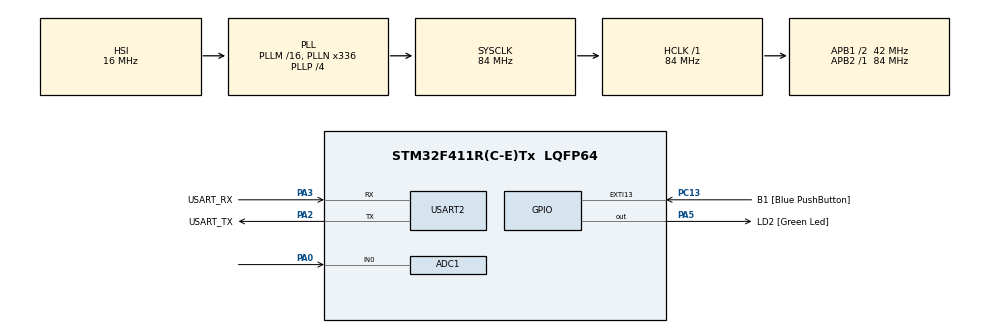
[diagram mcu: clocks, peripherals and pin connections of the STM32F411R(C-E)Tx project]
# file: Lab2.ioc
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ADC1.Channel-1\#ChannelRegularConversion=ADC_CHANNEL_0
ADC1.Channel-2\#ChannelRegularConversion=ADC_CHANNEL_TEMPSENSOR
ADC1.ContinuousConvMode=ENABLE
ADC1.DMAContinuousRequests=ENABLE
ADC1.DiscontinuousConvMode=DISABLE
ADC1.EOCSelection=ADC_EOC_SINGLE_CONV
ADC1.NbrOfConversion=2
ADC1.NbrOfConversionFlag=1
ADC1.Rank-1\#ChannelRegularConversion=1
ADC1.Rank-2\#ChannelRegularConversion=2
ADC1.SamplingTime-1\#ChannelRegularConversion=ADC_SAMPLETIME_56CYCLES
ADC1.SamplingTime-2\#ChannelRegularConversion=ADC_SAMPLETIME_56CYCLES
ADC1.master=1
Dma.ADC1.0.Direction=DMA_PERIPH_TO_MEMORY
Dma.ADC1.0.FIFOMode=DMA_FIFOMODE_DISABLE
Dma.ADC1.0.Instance=DMA2_Stream0
Dma.ADC1.0.MemDataAlignment=DMA_MDATAALIGN_HALFWORD
Dma.ADC1.0.MemInc=DMA_MINC_ENABLE
Dma.ADC1.0.Mode=DMA_CIRCULAR
Dma.ADC1.0.PeriphDataAlignment=DMA_PDATAALIGN_HALFWORD
Dma.ADC1.0.PeriphInc=DMA_PINC_DISABLE
Dma.ADC1.0.Priority=DMA_PRIORITY_LOW
Dma.Request0=ADC1
Mcu.Family=STM32F4
Mcu.Name=STM32F411R(C-E)Tx
Mcu.Package=LQFP64
NVIC.DMA2_Stream0_IRQn=true\:0\:0\:false\:false\:true\:false\:true\:true
NVIC.PriorityGroup=NVIC_PRIORITYGROUP_0
PA0-WKUP.Signal=ADCx_IN0
PA13.GPIO_Label=TMS
PA13.Mode=Serial_Wire
PA13.Signal=SYS_JTMS-SWDIO
PA14.GPIO_Label=TCK
PA14.Mode=Serial_Wire
PA14.Signal=SYS_JTCK-SWCLK
PA2.GPIO_Label=USART_TX
PA2.Mode=Asynchronous
PA2.Signal=USART2_TX
PA3.GPIO_Label=USART_RX
PA3.Mode=Asynchronous
PA3.Signal=USART2_RX
PA5.GPIO_Label=LD2 [Green Led]
PA5.Signal=GPIO_Output
PB3.GPIO_Label=SWO
PB3.Signal=SYS_JTDO-SWO
PC13-ANTI_TAMP.GPIO_Label=B1 [Blue PushButton]
PC13-ANTI_TAMP.GPIO_ModeDefaultEXTI=GPIO_MODE_IT_FALLING
PC13-ANTI_TAMP.Signal=GPXTI13
PC14-OSC32_IN.Mode=LSE-External-Oscillator
PC14-OSC32_IN.Signal=RCC_OSC32_IN
PC15-OSC32_OUT.Mode=LSE-External-Oscillator
PC15-OSC32_OUT.Signal=RCC_OSC32_OUT
PH0\ -\ OSC_IN.Mode=HSE-External-Clock-Source
PH0\ -\ OSC_IN.Signal=RCC_OSC_IN
PH1\ -\ OSC_OUT.Mode=HSE-External-Clock-Source
PH1\ -\ OSC_OUT.Signal=RCC_OSC_OUT
ProjectManager.HeapSize=0x200
ProjectManager.StackSize=0x400
ProjectManager.TargetToolchain=STM32CubeIDE
RCC.48MHZClocksFreq_Value=84000000
RCC.AHBFreq_Value=84000000
RCC.APB1CLKDivider=RCC_HCLK_DIV2
RCC.APB1Freq_Value=42000000
RCC.APB1TimFreq_Value=84000000
RCC.APB2Freq_Value=84000000
RCC.APB2TimFreq_Value=84000000
RCC.CortexFreq_Value=84000000
RCC.FLatency-AdvancedSettings=FLASH_LATENCY_2
RCC.HCLKFreq_Value=84000000
RCC.HSE_VALUE=8000000
RCC.HSI_VALUE=16000000
RCC.PLLN=336
RCC.PLLP=RCC_PLLP_DIV4
RCC.SYSCLKFreq_VALUE=84000000
RCC.SYSCLKSource=RCC_SYSCLKSOURCE_PLLCLK
RCC.VCOOutputFreq_Value=336000000
SH.ADCx_IN0.0=ADC1_IN0,IN0
USART2.VirtualMode=VM_ASYNC
VP_ADC1_TempSens_Input.Mode=IN-TempSens
board=NUCLEO-F411RE

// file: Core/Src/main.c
/* USER CODE BEGIN Header */
/**
  ******************************************************************************
  * @file           : main.c
  * @brief          : Main program body
  ******************************************************************************
  * @attention
  *
  * Copyright (c) 2023 STMicroelectronics.
  * All rights reserved.
  *
  * This software is licensed under terms that can be found in the LICENSE file
  * in the root directory of this software component./* USER CODE BEGIN Header */
/**
  ******************************************************************************
  * @file           : main.c
  * @brief          : Main program body
  ******************************************************************************
  * @attention
  *
  * Copyright (c) 2023 STMicroelectronics.
  * All rights reserved.
  *
  * This software is licensed under terms that can be found in the LICENSE file
  * in the root directory of this software component.
  * If no LICENSE file comes with this software, it is provided AS-IS.
  *
  ******************************************************************************
  */
/* USER CODE END Header */
#include "main.h"

ADC_HandleTypeDef hadc1;
DMA_HandleTypeDef hdma_adc1;

UART_HandleTypeDef huart2;

/* USER CODE BEGIN PV */
uint16_t adcRawData[20];
float Temp;
uint64_t  Voltage;
float TempRaw;
float VoltageRaw;
/* USER CODE END PV */

void SystemClock_Config(void);
static void MX_GPIO_Init(void);
static void MX_DMA_Init(void);
static void MX_USART2_UART_Init(void);
static void MX_ADC1_Init(void);

int main(void)
{

  /* MCU Configuration--------------------------------------------------------*/

  /* Reset of all peripherals, Initializes the Flash interface and the Systick. */
  HAL_Init();

  /* Configure the system clock */
  SystemClock_Config();

  /* Initialize all configured peripherals */
  MX_GPIO_Init();
  MX_DMA_Init();
  MX_USART2_UART_Init();
  MX_ADC1_Init();
  /* USER CODE BEGIN 2 */
  HAL_ADC_Start_DMA(&hadc1, adcRawData , 20);
  /* USER CODE END 2 */

  /* Infinite loop */
  /* USER CODE BEGIN WHILE */
  while (1)
  {
	  static uint32_t timestamp = 0;
	  register i;
	  	  if(HAL_GetTick() >= timestamp)
	  	  {
	  		timestamp = HAL_GetTick() + 1000;
	  		for (i=0 ; i < 20 ; i++)
	  		{
	  			if((i%2) == 0)
	  			{
	  				TempRaw += ((((adcRawData[i]/4095.000)*3.3000) - 0.7600)/0.0025) + 25.0000;
	  			}
	  			else if((i%2) == 1)
	  			{
	  				VoltageRaw += (adcRawData[i]/(2.5/3.3)*4095)*5;
	  			}
	  		}
	  		Temp = TempRaw / 10.0 + 273.0;
	  		Voltage = (VoltageRaw /10) * 1000 ;
	  		TempRaw = 0;
	  		VoltageRaw = 0;
	  	  }
}
    /* USER CODE END WHILE */

}

void SystemClock_Config(void)
{
  RCC_OscInitTypeDef RCC_OscInitStruct = {0};
  RCC_ClkInitTypeDef RCC_ClkInitStruct = {0};

  /** Configure the main internal regulator output voltage
  */
  __HAL_RCC_PWR_CLK_ENABLE();
  __HAL_PWR_VOLTAGESCALING_CONFIG(PWR_REGULATOR_VOLTAGE_SCALE1);

  /** Initializes the RCC Oscillators according to the specified parameters
  * in the RCC_OscInitTypeDef structure.
  */
  RCC_OscInitStruct.OscillatorType = RCC_OSCILLATORTYPE_HSI;
  RCC_OscInitStruct.HSIState = RCC_HSI_ON;
  RCC_OscInitStruct.HSICalibrationValue = RCC_HSICALIBRATION_DEFAULT;
  RCC_OscInitStruct.PLL.PLLState = RCC_PLL_ON;
  RCC_OscInitStruct.PLL.PLLSource = RCC_PLLSOURCE_HSI;
  RCC_OscInitStruct.PLL.PLLM = 16;
  RCC_OscInitStruct.PLL.PLLN = 336;
  RCC_OscInitStruct.PLL.PLLP = RCC_PLLP_DIV4;
  RCC_OscInitStruct.PLL.PLLQ = 4;
  if (HAL_RCC_OscConfig(&RCC_OscInitStruct) != HAL_OK)
  {
    Error_Handler();
  }

  /** Initializes the CPU, AHB and APB buses clocks
  */
  RCC_ClkInitStruct.ClockType = RCC_CLOCKTYPE_HCLK|RCC_CLOCKTYPE_SYSCLK
                              |RCC_CLOCKTYPE_PCLK1|RCC_CLOCKTYPE_PCLK2;
  RCC_ClkInitStruct.SYSCLKSource = RCC_SYSCLKSOURCE_PLLCLK;
  RCC_ClkInitStruct.AHBCLKDivider = RCC_SYSCLK_DIV1;
  RCC_ClkInitStruct.APB1CLKDivider = RCC_HCLK_DIV2;
  RCC_ClkInitStruct.APB2CLKDivider = RCC_HCLK_DIV1;

  if (HAL_RCC_ClockConfig(&RCC_ClkInitStruct, FLASH_LATENCY_2) != HAL_OK)
  {
    Error_Handler();
  }
}

static void MX_ADC1_Init(void)
{

  ADC_ChannelConfTypeDef sConfig = {0};

  /** Configure the global features of the ADC (Clock, Resolution, Data Alignment and number of conversion)
  */
  hadc1.Instance = ADC1;
  hadc1.Init.ClockPrescaler = ADC_CLOCK_SYNC_PCLK_DIV4;
  hadc1.Init.Resolution = ADC_RESOLUTION_12B;
  hadc1.Init.ScanConvMode = ENABLE;
  hadc1.Init.ContinuousConvMode = ENABLE;
  hadc1.Init.DiscontinuousConvMode = DISABLE;
  hadc1.Init.ExternalTrigConvEdge = ADC_EXTERNALTRIGCONVEDGE_NONE;
  hadc1.Init.ExternalTrigConv = ADC_SOFTWARE_START;
  hadc1.Init.DataAlign = ADC_DATAALIGN_RIGHT;
  hadc1.Init.NbrOfConversion = 2;
  hadc1.Init.DMAContinuousRequests = ENABLE;
  hadc1.Init.EOCSelection = ADC_EOC_SINGLE_CONV;
  if (HAL_ADC_Init(&hadc1) != HAL_OK)
  {
    Error_Handler();
  }

  /** Configure for the selected ADC regular channel its corresponding rank in the sequencer and its sample time.
  */
  sConfig.Channel = ADC_CHANNEL_0;
  sConfig.Rank = 1;
  sConfig.SamplingTime = ADC_SAMPLETIME_56CYCLES;
  if (HAL_ADC_ConfigChannel(&hadc1, &sConfig) != HAL_OK)
  {
    Error_Handler();
  }

  /** Configure for the selected ADC regular channel its corresponding rank in the sequencer and its sample time.
  */
  sConfig.Channel = ADC_CHANNEL_TEMPSENSOR;
  sConfig.Rank = 2;
  if (HAL_ADC_ConfigChannel(&hadc1, &sConfig) != HAL_OK)
  {
    Error_Handler();
  }

}

static void MX_USART2_UART_Init(void)
{

  huart2.Instance = USART2;
  huart2.Init.BaudRate = 115200;
  huart2.Init.WordLength = UART_WORDLENGTH_8B;
  huart2.Init.StopBits = UART_STOPBITS_1;
  huart2.Init.Parity = UART_PARITY_NONE;
  huart2.Init.Mode = UART_MODE_TX_RX;
  huart2.Init.HwFlowCtl = UART_HWCONTROL_NONE;
  huart2.Init.OverSampling = UART_OVERSAMPLING_16;
  if (HAL_UART_Init(&huart2) != HAL_OK)
  {
    Error_Handler();
  }

}

static void MX_DMA_Init(void)
{

  /* DMA controller clock enable */
  __HAL_RCC_DMA2_CLK_ENABLE();

  /* DMA interrupt init */
  /* DMA2_Stream0_IRQn interrupt configuration */
  HAL_NVIC_SetPriority(DMA2_Stream0_IRQn, 0, 0);
  HAL_NVIC_EnableIRQ(DMA2_Stream0_IRQn);

}

static void MX_GPIO_Init(void)
{
  GPIO_InitTypeDef GPIO_InitStruct = {0};

  /* GPIO Ports Clock Enable */
  __HAL_RCC_GPIOC_CLK_ENABLE();
  __HAL_RCC_GPIOH_CLK_ENABLE();
  __HAL_RCC_GPIOA_CLK_ENABLE();
  __HAL_RCC_GPIOB_CLK_ENABLE();

  /*Configure GPIO pin Output Level */
  HAL_GPIO_WritePin(LD2_GPIO_Port, LD2_Pin, GPIO_PIN_RESET);

  /*Configure GPIO pin : B1_Pin */
  GPIO_InitStruct.Pin = B1_Pin;
  GPIO_InitStruct.Mode = GPIO_MODE_IT_FALLING;
  GPIO_InitStruct.Pull = GPIO_NOPULL;
  HAL_GPIO_Init(B1_GPIO_Port, &GPIO_InitStruct);

  /*Configure GPIO pin : LD2_Pin */
  GPIO_InitStruct.Pin = LD2_Pin;
  GPIO_InitStruct.Mode = GPIO_MODE_OUTPUT_PP;
  GPIO_InitStruct.Pull = GPIO_NOPULL;
  GPIO_InitStruct.Speed = GPIO_SPEED_FREQ_LOW;
  HAL_GPIO_Init(LD2_GPIO_Port, &GPIO_InitStruct);

}

/* USER CODE BEGIN 4 */
//void HAL_GPIO_EXTI_Callback(uint16_t GPIO_Pin)
//{
//	if(GPIO_Pin == GPIO_PIN_13)
//	{
//		HAL_ADC_Start_DMA(&hadc1, adcRawData , 20);
//	}
//}
//void HAL_ADC_ConvCpltCallback(ADC_HandleTypeDef* hadc)
//{
//	adcRawData =  HAL_ADC_GetValue(&hadc1);
//}
/* USER CODE END 4 */

void Error_Handler(void)
{
  __disable_irq();
  while (1)
  {
  }
}
